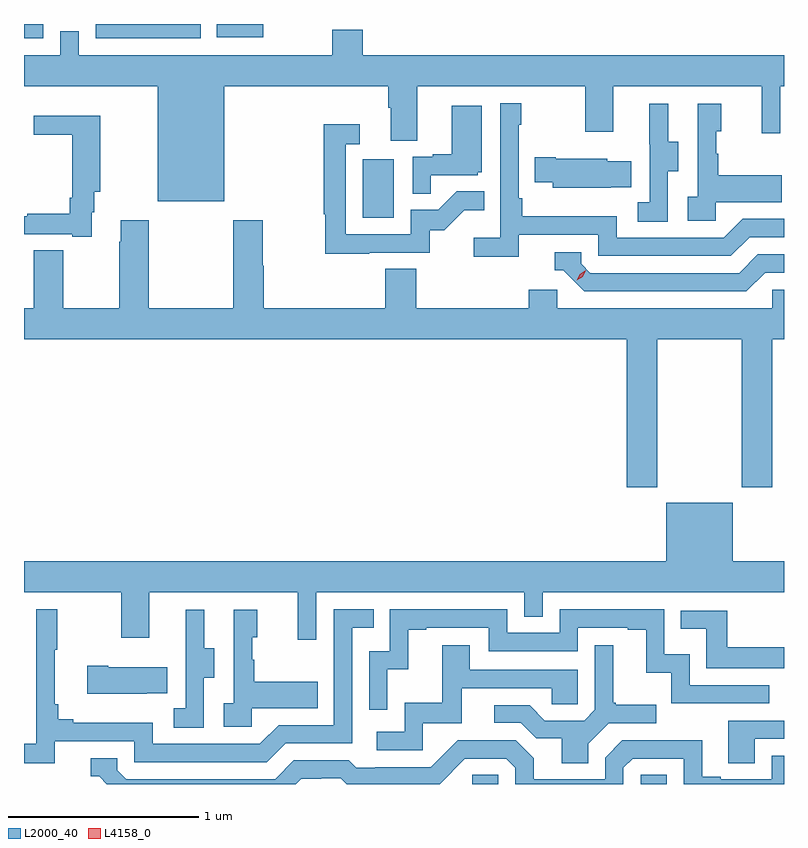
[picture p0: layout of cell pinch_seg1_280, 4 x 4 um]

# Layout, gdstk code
import gdstk
lib = gdstk.Library(unit=1e-6, precision=1e-09)
def R(c, l, rs):  # rectangles x0, y0, x1, y1
    for r in rs: c.add(gdstk.rectangle(r[:2], r[2:], *l))
def P(c, l, *ps):  # polygons
    for p in ps: c.add(gdstk.Polygon(p, *l))
L2000_40 = (2000, 40)
L4158_0 = (4158, 0)

pinch_seg1_280 = lib.new_cell('pinch_seg1_280')
R(pinch_seg1_280, L2000_40, [(912.703,544.064,912.84,544.112), (913.59,544.064,913.729,544.112), (912.128,547.044,912.292,547.351), (910.345,547.989,910.446,548.064), (910.722,547.989,911.274,548.064), (911.359,547.995,911.605,548.064)])
P(pinch_seg1_280, L2000_40, [(911.398,547.736),(912.263,547.736),(912.263,547.624),(912.275,547.624),(912.275,547.45),(912.415,547.45),(912.415,547.736),(913.3,547.736),(913.3,547.497),(913.447,547.497),(913.447,547.736),(914.228,547.736),(914.228,547.488),(914.325,547.488),(914.325,547.736),(914.345,547.736),(914.345,547.9),(912.128,547.9),(912.128,548.035),(911.968,548.035),(911.968,547.9),(910.632,547.9),(910.632,548.027),(910.536,548.027),(910.536,547.9),(910.345,547.9),(910.345,547.736),(911.048,547.736),(911.048,547.13),(911.398,547.13)],
  [(912.95,546.954),(913.368,546.954),(913.368,546.843),(914.065,546.843),(914.164,546.942),(914.345,546.942),(914.345,547.038),(914.127,547.038),(914.028,546.939),(913.464,546.939),(913.464,547.051),(912.968,547.051),(912.968,547.147),(912.948,547.147),(912.948,547.535),(912.961,547.535),(912.961,547.648),(912.852,547.648),(912.852,546.94),(912.711,546.94),(912.711,546.838),(912.95,546.838)],
  [(913.734,547.288),(913.789,547.288),(913.789,547.443),(913.735,547.443),(913.735,547.645),(913.637,547.645),(913.637,547.431),(913.638,547.431),(913.638,547.127),(913.575,547.127),(913.575,547.024),(913.734,547.024)],
  [(913.986,547.127),(914.333,547.127),(914.333,547.267),(913.999,547.267),(913.999,547.382),(913.989,547.382),(913.989,547.5),(914.014,547.5),(914.014,547.645),(913.89,547.645),(913.89,547.154),(913.839,547.154),(913.839,547.029),(913.986,547.029)],
  [(912.485,547.269),(912.732,547.269),(912.732,547.284),(912.754,547.284),(912.754,547.633),(912.596,547.633),(912.596,547.378),(912.497,547.378),(912.497,547.365),(912.39,547.365),(912.39,547.171),(912.485,547.171)],
  [(910.702,547.073),(910.714,547.073),(910.714,547.181),(910.746,547.181),(910.746,547.582),(910.395,547.582),(910.395,547.48),(910.6,547.48),(910.6,547.15),(910.585,547.15),(910.585,547.066),(910.363,547.066),(910.363,547.053),(910.345,547.053),(910.345,546.957),(910.598,546.957),(910.598,546.945),(910.702,546.945)],
  [(912.161,546.861),(912.48,546.861),(912.48,546.978),(912.556,546.978),(912.663,547.085),(912.767,547.085),(912.767,547.184),(912.623,547.184),(912.525,547.086),(912.381,547.086),(912.381,546.957),(912.039,546.957),(912.039,547.431),(912.112,547.431),(912.112,547.537),(911.923,547.537),(911.923,547.064),(911.931,547.064),(911.931,546.856),(912.161,546.856)],
  [(913.433,547.205),(913.541,547.205),(913.541,547.342),(913.416,547.342),(913.416,547.354),(913.144,547.354),(913.144,547.362),(913.033,547.362),(913.033,547.232),(913.127,547.232),(913.127,547.202),(913.433,547.202)],
  [(913.677,546.404),(914.122,546.404),(914.122,545.625),(914.282,545.625),(914.282,546.404),(914.345,546.404),(914.345,546.666),(914.283,546.666),(914.283,546.568),(913.152,546.568),(913.152,546.666),(913.001,546.666),(913.001,546.568),(912.41,546.568),(912.41,546.776),(912.245,546.776),(912.245,546.568),(911.606,546.568),(911.606,546.791),(911.601,546.791),(911.601,547.03),(911.446,547.03),(911.446,546.568),(911.001,546.568),(911.001,547.03),(910.853,547.03),(910.853,546.917),(910.846,546.917),(910.846,546.568),(910.551,546.568),(910.551,546.872),(910.396,546.872),(910.396,546.568),(910.345,546.568),(910.345,546.404),(913.517,546.404),(913.517,545.625),(913.677,545.625)],
  [(914.245,546.756),(914.345,546.756),(914.345,546.852),(914.208,546.852),(914.109,546.753),(913.326,546.753),(913.278,546.801),(913.278,546.864),(913.139,546.864),(913.139,546.768),(913.182,546.768),(913.293,546.657),(914.146,546.657)],
  [(911.883,545.072),(912.978,545.072),(912.978,544.945),(913.074,544.945),(913.074,545.072),(914.345,545.072),(914.345,545.236),(914.074,545.236),(914.074,545.545),(913.724,545.545),(913.724,545.236),(910.345,545.236),(910.345,545.072),(910.858,545.072),(910.858,544.833),(911.005,544.833),(911.005,545.072),(911.786,545.072),(911.786,544.824),(911.883,544.824)],
  [(910.508,544.29),(910.926,544.29),(910.926,544.179),(911.623,544.179),(911.722,544.278),(912.072,544.278),(912.072,544.887),(912.185,544.887),(912.185,544.983),(911.976,544.983),(911.976,544.374),(911.685,544.374),(911.586,544.275),(911.022,544.275),(911.022,544.387),(910.603,544.387),(910.603,544.406),(910.526,544.406),(910.526,544.483),(910.507,544.483),(910.507,544.771),(910.519,544.771),(910.519,544.984),(910.41,544.984),(910.41,544.276),(910.345,544.276),(910.345,544.174),(910.508,544.174)],
  [(912.258,544.667),(912.368,544.667),(912.368,544.875),(912.463,544.875),(912.463,544.887),(912.792,544.887),(912.792,544.764),(913.26,544.764),(913.26,544.887),(913.523,544.887),(913.523,544.875),(913.619,544.875),(913.619,544.649),(913.752,544.649),(913.752,544.488),(914.267,544.488),(914.267,544.584),(913.848,544.584),(913.848,544.747),(913.716,544.747),(913.716,544.983),(913.164,544.983),(913.164,544.86),(912.888,544.86),(912.888,544.983),(912.27,544.983),(912.27,544.764),(912.162,544.764),(912.162,544.455),(912.258,544.455)],
  [(911.292,544.624),(911.347,544.624),(911.347,544.779),(911.293,544.779),(911.293,544.981),(911.195,544.981),(911.195,544.767),(911.196,544.767),(911.196,544.463),(911.133,544.463),(911.133,544.36),(911.292,544.36)],
  [(911.544,544.463),(911.891,544.463),(911.891,544.603),(911.557,544.603),(911.557,544.718),(911.547,544.718),(911.547,544.836),(911.572,544.836),(911.572,544.981),(911.448,544.981),(911.448,544.49),(911.397,544.49),(911.397,544.365),(911.544,544.365)],
  [(914.345,544.783),(914.047,544.783),(914.047,544.977),(913.801,544.977),(913.801,544.88),(913.936,544.88),(913.936,544.674),(914.345,544.674)],
  [(912.444,544.383),(912.649,544.383),(912.649,544.569),(913.123,544.569),(913.123,544.485),(913.26,544.485),(913.26,544.665),(912.691,544.665),(912.691,544.795),(912.547,544.795),(912.547,544.492),(912.348,544.492),(912.348,544.338),(912.201,544.338),(912.201,544.242),(912.444,544.242)],
  [(913.315,544.276),(913.422,544.383),(913.672,544.383),(913.672,544.48),(913.459,544.48),(913.459,544.492),(913.447,544.492),(913.447,544.795),(913.35,544.795),(913.35,544.455),(913.293,544.398),(913.087,544.398),(913.006,544.479),(912.819,544.479),(912.819,544.386),(912.96,544.386),(913.04,544.306),(913.175,544.306),(913.175,544.174),(913.315,544.174)],
  [(910.991,544.541),(911.099,544.541),(911.099,544.678),(910.789,544.678),(910.789,544.686),(910.677,544.686),(910.677,544.538),(910.991,544.538)],
  [(914.191,544.302),(914.345,544.302),(914.345,544.398),(914.051,544.398),(914.051,544.174),(914.191,544.174)],
  [(911.803,544.092),(911.91,544.092),(911.91,544.095),(912.013,544.095),(912.044,544.064),(912.533,544.064),(912.666,544.197),(912.882,544.197),(912.93,544.149),(912.93,544.064),(913.5,544.064),(913.5,544.149),(913.548,544.197),(913.818,544.197),(913.818,544.064),(914.345,544.064),(914.345,544.212),(914.28,544.212),(914.28,544.089),(914.011,544.089),(914.011,544.102),(913.915,544.102),(913.915,544.295),(913.71,544.295),(913.71,544.293),(913.494,544.293),(913.404,544.203),(913.404,544.089),(913.027,544.089),(913.027,544.199),(912.933,544.293),(912.627,544.293),(912.486,544.152),(912.193,544.152),(912.193,544.149),(912.094,544.149),(912.055,544.188),(911.766,544.188),(911.667,544.089),(910.884,544.089),(910.836,544.137),(910.836,544.2),(910.697,544.2),(910.697,544.104),(910.74,544.104),(910.78,544.064),(911.775,544.064)])
P(pinch_seg1_280, L4158_0, [(913.254,546.715),(913.254,546.715),(913.271,546.748),(913.302,546.768),(913.302,546.768),(913.302,546.767),(913.285,546.735),(913.254,546.715)])

lib.write_gds('pinch_seg1_280.gds')
